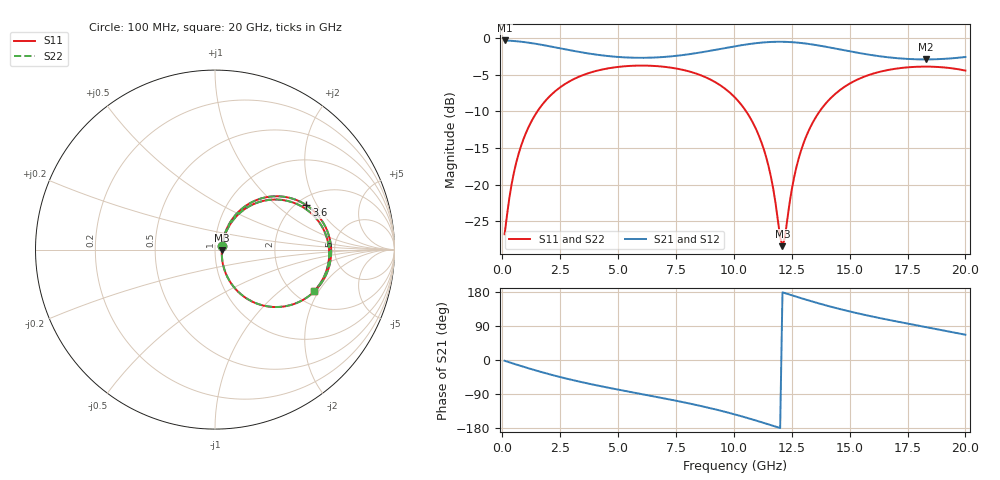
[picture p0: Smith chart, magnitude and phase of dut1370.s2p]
! Touchstone file exported from HFSS 2026.1.0
!  File:  C:/ffzhzh/LocalFiles/Ansys_Project_Files/temp_train_TSV_RDL_1370_1783345693_37376.aedt
!  Generated:  10:12:21 PM Jul  6, 2026
!  Design:  TSV_RDL
!  Project:  temp_train_TSV_RDL_1370_1783345693_37376
! Variables:
!  h_bsmrdl = 2.87um
!  h_ox = 20um
!  h_rdl = 5um
!  h_sub = 67.76um
!  h_tmrdl = 4.49um
!  h_tsv = 67.76um
!  h_via = 3um
!  l_bsmrdl = 907.66um
!  l_sub = 5218.17um
!  l_tmrdl = 499.4um
!  m_sub = 200um
!  pitch = 46.83um
!  r_tsv = 2.44um
!  s_tmrdl = 10um
!  w_bsmrdl = 14.25um
!  w_sub = 500um
!  w_tmrdl = 18.28um
!  x_tsv_center1 = 508.54um
!  x_tsv_center2 = 1430.45um
!  x_tsv_center3 = 1948.13um
!  x_tsv_center4 = 2870.04um
!  x_tsv_center5 = 3387.72um
!  x_tsv_center6 = 4309.63um
# GHz S MA R 50.000000
! Terminal data exported
! Port[1] = TM_RDL1_1_T1
! Port[2] = TM_RDL5_1_T1
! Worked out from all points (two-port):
!   200 points, 100 MHz to 20 GHz, reference 50 ohm
!   highest |S21| = -0.35 dB at 100 MHz (marker M1); lowest = -2.9 dB at 18.3 GHz (marker M2)
!   |S21| within 3 dB of the highest: start of sweep to end of sweep
!   lowest |S11| = -28.4 dB at 12.1 GHz (marker M3), VSWR 1.08, Z = 54 - j0.309 ohm
!   |S11| at or under -10 dB: start of sweep to 1.518 GHz; 10.53 GHz to 13.71 GHz (3.18 GHz wide, 26.2 % of centre)
!   |S22| runs from -28.3 to -3.8 dB; largest |S21 - S12| = 1.7e-14
!   S11 on the Smith chart (normalised r, x): 100 MHz: 1.08, +0.05; 3.6 GHz: 2.25, +1.64; 20 GHz: 2.53, -1.82
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0.1  0.046 28.7  0.9602 -2.0  0.9602 -2.0  0.046 28.7
! Gamma 0 0 0 0
! Port Impedance 50 0 50 0
0.5  0.1206 59.8  0.9518 -9.9  0.9518 -9.9  0.1206 59.8
0.8  0.1815 60.8  0.9418 -15.7  0.9418 -15.7  0.1815 60.8
1.2  0.2592 57.5  0.9242 -23.1  0.9242 -23.1  0.2592 57.5
2.2  0.4218 44.3  0.867 -40.3  0.867 -40.3  0.4218 44.3
3.5  0.5589 27.1  0.7934 -59.4  0.7934 -59.4  0.5589 27.1
3.6  0.5664 25.8  0.7886 -60.7  0.7886 -60.7  0.5664 25.9
5.2  0.6389 7.3  0.7377 -80.5  0.7377 -80.5  0.6389 7.3
6.8  0.6399 -10.3  0.738 -99.0  0.738 -99.0  0.6399 -10.3
8.7  0.5461 -32.8  0.8023 -123.1  0.8023 -123.1  0.5461 -32.7
10.1  0.3848 -51.8  0.879 -144.6  0.879 -144.6  0.3848 -51.7
10.8  0.2685 -61.2  0.9138 -156.8  0.9138 -156.8  0.2685 -61.1
11.3  0.1732 -65.6  0.9316 -166.1  0.9316 -166.1  0.1732 -65.5
11.7  0.09406 -61.8  0.9394 -173.8  0.9394 -173.8  0.09422 -61.5
12  0.04409 -31.4  0.9409 -179.5  0.9409 -179.5  0.04451 -31.0
12.1  0.03816 -4.3  0.9406 178.5  0.9406 178.5  0.03868 -4.2
12.7  0.1313 58.7  0.9298 167.0  0.9298 167.0  0.1315 58.5
13.4  0.2637 54.8  0.9013 154.1  0.9013 154.1  0.2638 54.7
14.7  0.4552 37.7  0.8275 132.6  0.8275 132.6  0.4552 37.6
16.7  0.6061 13.2  0.7363 105.7  0.7363 105.7  0.6061 13.2
18.3  0.6372 -4.2  0.7133 86.9  0.7133 86.9  0.6372 -4.1
20  0.5988 -22.7  0.7409 66.7  0.7409 66.7  0.5988 -22.6
